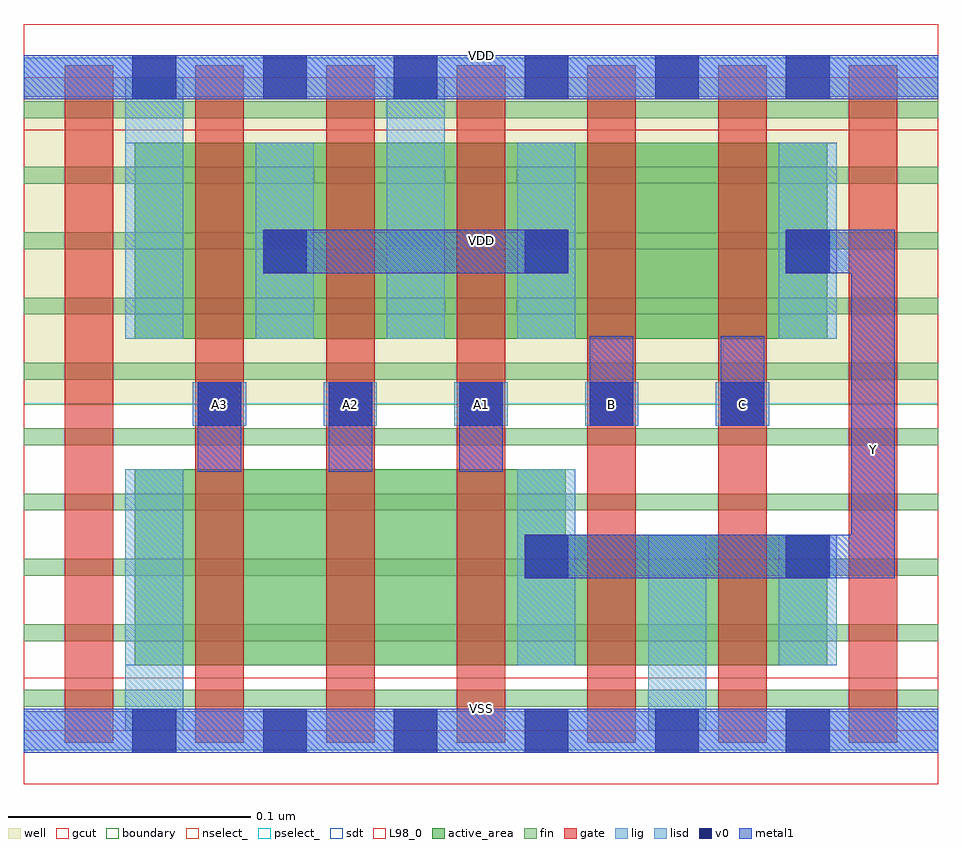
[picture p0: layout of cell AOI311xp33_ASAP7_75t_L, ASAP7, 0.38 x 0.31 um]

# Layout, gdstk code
import gdstk
lib = gdstk.Library(unit=1e-6, precision=2.5e-10)
def R(c, l, rs):  # rectangles x0, y0, x1, y1
    for r in rs: c.add(gdstk.rectangle(r[:2], r[2:], *l))
def A(c, l, x, y, w, h, nx, ny, dx, dy):  # array of equal rectangles
    R(c, l, [(x+i*dx, y+j*dy, x+i*dx+w, y+j*dy+h) for i in range(nx) for j in range(ny)])
def P(c, l, *ps):  # polygons
    for p in ps: c.add(gdstk.Polygon(p, *l))
well = (1, 0)
fin = (2, 0)
gate = (7, 0)
gcut = (10, 0)
active_area = (11, 0)
nselect_ = (12, 0)
pselect_ = (13, 0)
lig = (16, 0)
lisd = (17, 0)
v0 = (18, 0)
metal1 = (19, 0)
sdt = (88, 0)
L98_0 = (98, 0)
boundary = (100, 0)

aoi311xp33_asap7_75t_l = lib.new_cell('AOI311xp33_ASAP7_75t_L')
R(aoi311xp33_asap7_75t_l, well, [(0,0.135,0.378,0.27)])
A(aoi311xp33_asap7_75t_l, fin, 0, 0.01, 0.378, 0.007, 1, 10, 0, 0.027)
A(aoi311xp33_asap7_75t_l, gate, 0.017, -0.005, 0.02, 0.28, 7, 1, 0.054, 0)
R(aoi311xp33_asap7_75t_l, gcut, [(0,-0.022,0.378,0.022), (0,0.248,0.378,0.292)])
R(aoi311xp33_asap7_75t_l, active_area, [(0.046,0.162,0.332,0.243)])
P(aoi311xp33_asap7_75t_l, active_area, [(0.224,0.108),(0.046,0.108),(0.046,0.027),(0.332,0.027),(0.332,0.081),(0.224,0.081)])
R(aoi311xp33_asap7_75t_l, nselect_, [(0,0,0.378,0.135)])
R(aoi311xp33_asap7_75t_l, pselect_, [(0,0.135,0.378,0.27)])
A(aoi311xp33_asap7_75t_l, lig, 0.07, 0.126, 0.022, 0.018, 5, 1, 0.054, 0)
R(aoi311xp33_asap7_75t_l, lig, [(0,-0.008,0.378,0.008), (0,0.262,0.378,0.278)])
A(aoi311xp33_asap7_75t_l, lisd, 0.096, 0.162, 0.024, 0.081, 3, 1, 0.108, 0)
R(aoi311xp33_asap7_75t_l, lisd, [(0.042,0,0.066,0.108), (0.042,0,0.066,0.108), (0.258,0,0.282,0.081), (0.258,0,0.282,0.081), (0.204,0.027,0.228,0.108), (0.312,0.027,0.336,0.081), (0.042,0.162,0.066,0.27), (0.042,0.162,0.066,0.27), (0.15,0.162,0.174,0.27), (0.15,0.162,0.174,0.27)])
A(aoi311xp33_asap7_75t_l, v0, 0.045, -0.009, 0.018, 0.018, 6, 2, 0.054, 0.27)
A(aoi311xp33_asap7_75t_l, v0, 0.072, 0.126, 0.018, 0.018, 5, 1, 0.054, 0)
A(aoi311xp33_asap7_75t_l, v0, 0.099, 0.189, 0.018, 0.018, 3, 1, 0.108, 0)
R(aoi311xp33_asap7_75t_l, v0, [(0.207,0.063,0.225,0.081), (0.315,0.063,0.333,0.081)])
A(aoi311xp33_asap7_75t_l, metal1, 0.072, 0.107, 0.018, 0.037, 3, 1, 0.054, 0)
A(aoi311xp33_asap7_75t_l, metal1, 0.072, 0.126, 0.018, 0.018, 5, 1, 0.054, 0)
A(aoi311xp33_asap7_75t_l, metal1, 0.099, 0.189, 0.018, 0.018, 3, 1, 0.108, 0)
R(aoi311xp33_asap7_75t_l, metal1, [(0,-0.009,0.378,0.009), (0.207,0.063,0.225,0.081), (0.315,0.063,0.333,0.081), (0.234,0.126,0.252,0.163), (0.288,0.126,0.306,0.163), (0.099,0.189,0.225,0.207), (0,0.261,0.378,0.279)])
P(aoi311xp33_asap7_75t_l, metal1, [(0.315,0.207),(0.315,0.189),(0.342,0.189),(0.342,0.081),(0.207,0.081),(0.207,0.063),(0.36,0.063),(0.36,0.207)])
A(aoi311xp33_asap7_75t_l, sdt, 0.042, 0.162, 0.024, 0.081, 3, 1, 0.054, 0)
R(aoi311xp33_asap7_75t_l, sdt, [(0.042,0.027,0.066,0.108), (0.042,0.027,0.066,0.108), (0.204,0.027,0.228,0.108), (0.258,0.027,0.282,0.081), (0.258,0.027,0.282,0.081), (0.312,0.027,0.336,0.081), (0.042,0.162,0.066,0.243), (0.15,0.162,0.174,0.243), (0.204,0.162,0.228,0.243), (0.312,0.162,0.336,0.243)])
R(aoi311xp33_asap7_75t_l, L98_0, [(0,0,0.378,0.27)])
R(aoi311xp33_asap7_75t_l, boundary, [(0,0,0.378,0.27)])
aoi311xp33_asap7_75t_l.add(gdstk.Label('VDD', (0.189,0.2025), layer=1, texttype=251))
aoi311xp33_asap7_75t_l.add(gdstk.Label('VSS', (0.189,-0.0675), layer=3, texttype=251))
aoi311xp33_asap7_75t_l.add(gdstk.Label('VSS', (0.189,0.009), layer=19, texttype=251))
aoi311xp33_asap7_75t_l.add(gdstk.Label('VDD', (0.189,0.279), layer=19, texttype=251))
aoi311xp33_asap7_75t_l.add(gdstk.Label('A3', (0.081,0.135), layer=19, texttype=251))
aoi311xp33_asap7_75t_l.add(gdstk.Label('A2', (0.135,0.135), layer=19, texttype=251))
aoi311xp33_asap7_75t_l.add(gdstk.Label('A1', (0.189,0.135), layer=19, texttype=251))
aoi311xp33_asap7_75t_l.add(gdstk.Label('Y', (0.351,0.116), layer=19, texttype=251))
aoi311xp33_asap7_75t_l.add(gdstk.Label('B', (0.243,0.135), layer=19, texttype=251))
aoi311xp33_asap7_75t_l.add(gdstk.Label('C', (0.297,0.135), layer=19, texttype=251))

lib.write_gds('AOI311xp33_ASAP7_75t_L.gds')
